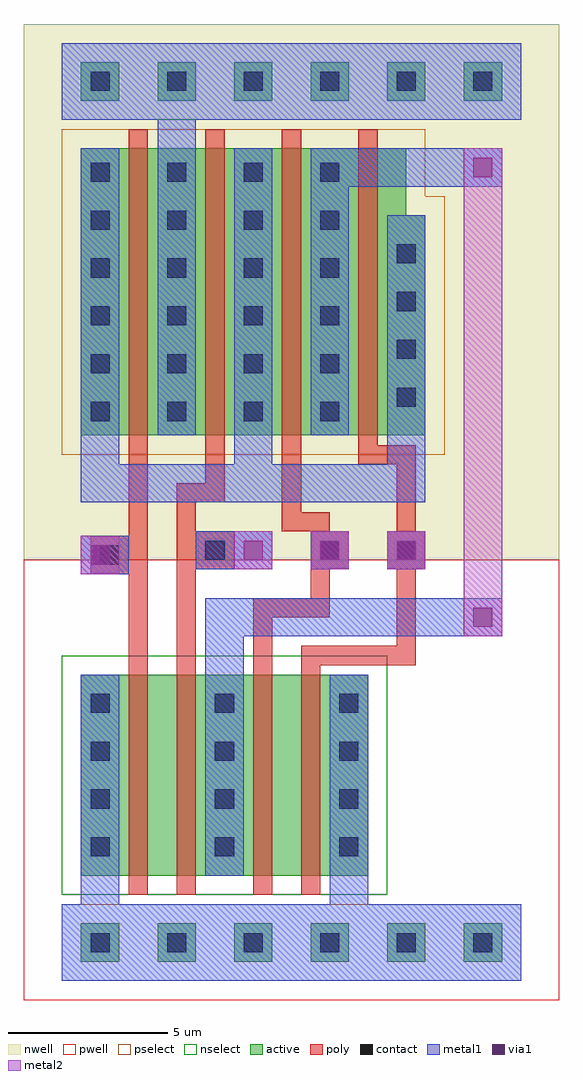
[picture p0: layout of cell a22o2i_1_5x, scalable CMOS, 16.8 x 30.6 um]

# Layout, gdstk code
import gdstk
lib = gdstk.Library(unit=1e-6, precision=1e-09)
def R(c, l, rs):  # rectangles x0, y0, x1, y1
    for r in rs: c.add(gdstk.rectangle(r[:2], r[2:], *l))
def A(c, l, x, y, w, h, nx, ny, dx, dy):  # array of equal rectangles
    R(c, l, [(x+i*dx, y+j*dy, x+i*dx+w, y+j*dy+h) for i in range(nx) for j in range(ny)])
contact = (25, 0)
pwell = (41, 0)
nwell = (42, 0)
active = (43, 0)
pselect = (44, 0)
nselect = (45, 0)
poly = (46, 0)
metal1 = (49, 0)
via1 = (50, 0)
metal2 = (51, 0)

a22o2i_1_5x = lib.new_cell('a22o2i_1_5x')
A(a22o2i_1_5x, contact, 0.3, -0.3, 0.6, 0.6, 6, 2, 2.4, 27)
A(a22o2i_1_5x, contact, 0.3, 2.7, 0.6, 0.6, 3, 4, 3.9, 1.5)
A(a22o2i_1_5x, contact, 0.3, 16.35, 0.6, 0.6, 4, 6, 2.4, 1.5)
A(a22o2i_1_5x, contact, 9.9, 16.8, 0.6, 0.6, 1, 4, 0, 1.5)
R(a22o2i_1_5x, contact, [(0.6,11.85,1.2,12.45), (3.9,12,4.5,12.6), (7.5,12,8.1,12.6), (9.9,12,10.5,12.6)])
A(a22o2i_1_5x, pwell, -0.9, -1.5, 3, 3, 6, 1, 2.4, 0)
A(a22o2i_1_5x, pwell, -1.8, 0.3, 4.8, 9.9, 3, 1, 3.9, 0)
R(a22o2i_1_5x, pwell, [(-1.8,-1.8,15,12), (-1.2,0.3,4.8,10.2), (0.3,0.3,6.3,10.2), (2.7,0.3,8.7,10.2), (4.2,0.3,10.2,10.2), (2.25,2.55,6.825,7.05), (-1.65,3.15,2.925,7.65), (2.175,3.45,6.75,7.95), (3.825,3.45,9.075,7.95), (6.075,3.45,10.65,7.95), (-0.075,4.2,5.175,8.7)])
A(a22o2i_1_5x, nwell, -1.8, 14.1, 4.8, 12.6, 4, 1, 2.4, 0)
A(a22o2i_1_5x, nwell, -1.2, 14.1, 6, 12.6, 4, 1, 2.4, 0)
A(a22o2i_1_5x, nwell, -0.9, 25.5, 3, 3, 6, 1, 2.4, 0)
R(a22o2i_1_5x, nwell, [(-1.8,12,15,28.8), (7.8,14.1,12.6,24.6), (5.55,14.55,10.125,19.05), (3.15,15.75,7.725,20.25), (5.475,16.05,10.05,20.55), (3,16.65,7.575,21.15), (0.675,16.95,5.25,21.45), (0.75,17.55,5.325,22.05), (-1.65,18.6,2.925,23.1), (7.875,19.05,12.45,23.55)])
A(a22o2i_1_5x, active, 0, -0.6, 1.2, 1.2, 6, 2, 2.4, 27)
A(a22o2i_1_5x, active, 0, 2.1, 1.2, 6.3, 3, 1, 3.9, 0)
A(a22o2i_1_5x, active, 0, 15.9, 1.2, 9, 4, 1, 2.4, 0)
A(a22o2i_1_5x, active, 0.6, 15.9, 2.4, 9, 4, 1, 2.4, 0)
R(a22o2i_1_5x, active, [(0.6,2.1,3,8.4), (2.1,2.1,4.5,8.4), (4.5,2.1,6.9,8.4), (6,2.1,8.4,8.4), (4.05,4.35,5.025,5.25), (0.15,4.95,1.125,5.85), (3.975,5.25,4.95,6.15), (5.625,5.25,7.275,6.15), (7.875,5.25,8.85,6.15), (1.725,6,3.375,6.9), (9.6,15.9,10.8,22.8), (7.35,16.35,8.325,17.25), (4.95,17.55,5.925,18.45), (7.275,17.85,8.25,18.75), (4.8,18.45,5.775,19.35), (2.475,18.75,3.45,19.65), (2.55,19.35,3.525,20.25), (0.15,20.4,1.125,21.3), (9.675,20.85,10.65,21.75)])
A(a22o2i_1_5x, pselect, -0.6, -1.2, 2.4, 2.4, 6, 1, 2.4, 0)
A(a22o2i_1_5x, pselect, -0.6, 15.3, 2.4, 10.2, 4, 1, 2.4, 0)
A(a22o2i_1_5x, pselect, 0, 15.3, 3.6, 10.2, 4, 1, 2.4, 0)
R(a22o2i_1_5x, pselect, [(9,15.3,11.4,23.4), (6.75,15.75,8.925,17.85), (4.35,16.95,6.525,19.05), (6.675,17.25,8.85,19.35), (4.2,17.85,6.375,19.95), (1.875,18.15,4.05,20.25), (1.95,18.75,4.125,20.85), (-0.45,19.8,1.725,21.9), (9.075,20.25,11.25,22.35)])
A(a22o2i_1_5x, nselect, -0.6, 1.5, 2.4, 7.5, 3, 1, 3.9, 0)
A(a22o2i_1_5x, nselect, -0.6, 25.8, 2.4, 2.4, 6, 1, 2.4, 0)
R(a22o2i_1_5x, nselect, [(0,1.5,3.6,9), (1.5,1.5,5.1,9), (3.9,1.5,7.5,9), (5.4,1.5,9,9), (3.45,3.75,5.625,5.85), (-0.45,4.35,1.725,6.45), (3.375,4.65,5.55,6.75), (5.025,4.65,7.875,6.75), (7.275,4.65,9.45,6.75), (1.125,5.4,3.975,7.5)])
A(a22o2i_1_5x, poly, 1.5, 15.3, 0.6, 10.2, 4, 1, 2.4, 0)
R(a22o2i_1_5x, poly, [(1.5,1.5,2.1,9), (3,1.5,3.6,9), (5.4,1.5,6,9), (6.9,1.5,7.5,9), (1.5,8.7,2.1,12.3), (3,8.7,3.6,12.6), (5.4,8.7,6,10.8), (6.9,8.7,10.5,9.3), (9.9,8.7,10.5,12.6), (5.4,10.2,7.8,10.8), (7.2,10.2,7.8,12.6), (0.3,11.55,1.5,12.75), (0.6,11.7,2.1,12.3), (1.5,11.7,2.1,15.6), (3.6,11.7,4.8,12.9), (7.2,11.7,8.4,12.9), (9.6,11.7,10.8,12.9), (3,12,4.5,12.6), (3,12,3.6,14.4), (7.2,12,7.8,13.5), (7.2,12,8.1,12.6), (9.9,12,10.5,15.6), (6.3,12.9,7.8,13.5), (6.3,12.9,6.9,15.6), (3,13.8,4.5,14.4), (3.9,13.8,4.5,15.6), (8.7,15,10.5,15.6)])
A(a22o2i_1_5x, metal1, -0.6, -1.2, 4.8, 2.4, 3, 1, 2.4, 0)
A(a22o2i_1_5x, metal1, 0, -0.6, 1.2, 1.2, 6, 1, 2.4, 0)
A(a22o2i_1_5x, metal1, 0, 2.1, 1.2, 6.3, 3, 1, 3.9, 0)
A(a22o2i_1_5x, metal1, 0, 13.8, 1.2, 3.3, 3, 1, 4.8, 0)
A(a22o2i_1_5x, metal1, 0, 15.9, 1.2, 9, 4, 1, 2.4, 0)
A(a22o2i_1_5x, metal1, 0, 26.4, 1.2, 1.2, 4, 1, 2.4, 0)
R(a22o2i_1_5x, metal1, [(-0.6,-1.2,1.8,1.2), (-0.6,-1.2,4.2,1.2), (6.6,-1.2,9.6,1.2), (7.2,-1.2,11.4,1.2), (9,-1.2,13.8,1.2), (9,-1.2,12.6,1.2), (11.4,-1.2,13.8,1.2), (0,-0.6,1.2,3.3), (7.8,-0.6,9,3.15), (12,-0.6,13.2,0.6), (3.9,6.9,5.1,10.8), (3.9,9.6,13.2,10.8), (12,9.6,13.2,10.8), (0,11.55,1.2,12.75), (0,11.55,1.5,12.75), (0.3,11.55,1.5,12.75), (3.6,11.7,4.8,12.9), (3.6,11.7,6,12.9), (4.8,11.7,6,12.9), (7.2,11.7,8.4,12.9), (7.2,11.7,8.4,12.9), (7.2,11.7,8.4,12.9), (9.6,11.7,10.8,12.9), (9.6,11.7,10.8,12.9), (9.6,11.7,10.8,12.9), (0,13.8,6,15), (4.8,13.8,10.8,15), (9.6,15.9,10.8,22.8), (2.4,23.7,3.6,27.6), (7.2,23.7,13.2,24.9), (12,23.7,13.2,24.9), (-0.6,25.8,1.8,28.2), (-0.6,25.8,4.2,28.2), (1.8,25.8,9,28.2), (6.6,25.8,11.4,28.2), (9,25.8,13.8,28.2), (0,26.4,1.2,27.6), (4.8,26.4,8.4,27.6), (7.2,26.4,8.4,27.6), (9.6,26.4,10.8,27.6), (9.6,26.4,10.8,27.6), (12,26.4,13.2,27.6), (12,26.4,13.2,27.6)])
A(a22o2i_1_5x, via1, 5.1, 12, 0.6, 0.6, 3, 1, 2.4, 0)
R(a22o2i_1_5x, via1, [(12.3,9.9,12.9,10.5), (0.3,11.85,0.9,12.45), (12.3,24,12.9,24.6)])
A(a22o2i_1_5x, metal2, 4.8, 11.7, 1.2, 1.2, 3, 1, 2.4, 0)
R(a22o2i_1_5x, metal2, [(12,9.6,13.2,10.8), (12,9.6,13.2,24.9), (0,11.55,1.2,12.75), (12,23.7,13.2,24.9)])

lib.write_gds('a22o2i_1_5x.gds')
